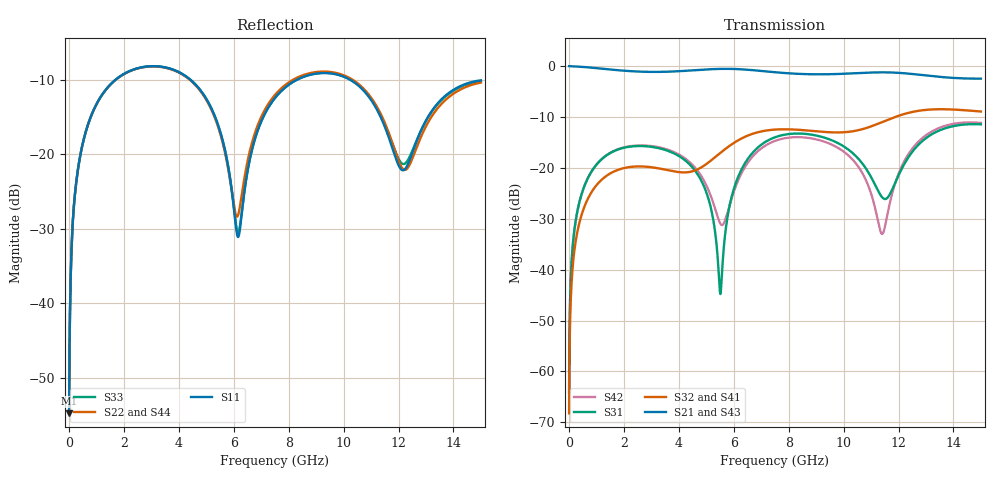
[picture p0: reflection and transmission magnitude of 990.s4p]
! Created with skrf 1.8.0 (http://scikit-rf.org).
# GHz S RI R 50.0
!freq ReS11 ImS11 ReS12 ImS12 ReS13 ImS13
! ReS14 ImS14
! ReS21 ImS21 ReS22 ImS22 ReS23 ImS23
! ReS24 ImS24
! ReS31 ImS31 ReS32 ImS32 ReS33 ImS33
! ReS34 ImS34
! ReS41 ImS41 ReS42 ImS42 ReS43 ImS43
! ReS44 ImS44
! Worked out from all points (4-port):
!   2499 points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, 5 MHz to 15 GHz, reference 50 ohm
!   strongest paths, dB at 5 MHz, 3.476 GHz, 7.19 GHz, 11.1 GHz, 15 GHz:
!     S21: 0.0, -1.1, -1.0, -1.2, -2.5
!     S43: 0.0, -1.1, -1.1, -1.3, -2.5
!     S32: -68.2, -20.3, -12.7, -11.6, -8.9
!     S41: -68.2, -20.4, -12.7, -11.7, -9.0
!     S31: -64.1, -16.4, -14.8, -22.8, -11.4
!     S42: -64.1, -16.2, -15.5, -26.8, -11.2
!   lowest |S11| = -54.7 dB at 5 MHz (marker M1), VSWR 1.00, Z = 50.1 + j0.111 ohm
!   |S11| at or under -10 dB: start of sweep to 1.692 GHz; 4.426 GHz to 8.295 GHz (3.869 GHz wide, 60.8 % of centre); 10.24 GHz to end of sweep
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0.005  0.00146 0.00111  0.9985 -0.00285  7.43e-05 0.000619  -7.2e-05 -0.000382
       0.9985 -0.00285  0.00146 0.00111  -7.2e-05 -0.000382  7.43e-05 0.000619
       7.43e-05 0.000619  -7.2e-05 -0.000382  0.00146 0.00111  0.9985 -0.00285
       -7.2e-05 -0.000382  7.43e-05 0.000619  0.9985 -0.00285  0.00146 0.00111
0.3126303  0.0199 0.0734  0.9729 -0.178  0.00935 0.0372  -0.00783 -0.0228
           0.9729 -0.178  0.0198 0.0734  -0.00784 -0.0228  0.00958 0.0371
           0.00935 0.0372  -0.00784 -0.0228  0.0199 0.0734  0.9729 -0.178
           -0.00783 -0.0228  0.00958 0.0371  0.9729 -0.178  0.0199 0.0734
1.519383  0.2288 0.1873  0.6329 -0.6745  0.1172 0.0781  -0.0863 -0.0201
          0.6329 -0.6745  0.2277 0.1879  -0.0865 -0.0199  0.1203 0.0747
          0.1172 0.0781  -0.0865 -0.0199  0.2287 0.1873  0.6329 -0.6745
          -0.0863 -0.0201  0.1203 0.0747  0.6329 -0.6745  0.2278 0.1878
5.514798  0.0656 -0.1239  -0.8616 -0.3732  0.00559 0.0014  -0.0533 0.13
          -0.8616 -0.3732  0.073 -0.1151  -0.0498 0.1315  -0.025 -0.0131
          0.00559 0.0014  -0.0498 0.1315  0.0673 -0.1235  -0.8617 -0.373
          -0.0533 0.13  -0.025 -0.0131  -0.8617 -0.373  0.0714 -0.1161
9.610254  0.3444 -0.0466  0.0288 0.8333  0.1522 -0.1049  0.2088 -0.0707
          0.0288 0.8333  0.3508 -0.0564  0.2084 -0.0802  0.1507 -0.0727
          0.1522 -0.1049  0.2084 -0.0802  0.3461 -0.0451  0.0295 0.832
          0.2088 -0.0707  0.1507 -0.0727  0.0295 0.832  0.3553 -0.0587
11.40475  0.1233 -0.1155  0.6995 0.515  -0.0437 -0.0272  0.1672 -0.2271
          0.6995 0.515  0.1264 -0.1258  0.1549 -0.2357  -0.0214 -0.00661
          -0.0437 -0.0272  0.1549 -0.2357  0.1309 -0.1162  0.6988 0.5144
          0.1672 -0.2271  -0.0214 -0.00661  0.6988 0.5144  0.1249 -0.1323
15  0.3139 0.00228  0.332 -0.6757  0.2667 -0.0245  -0.3471 -0.0634
    0.332 -0.6757  0.3027 0.0155  -0.3553 -0.0445  0.2758 -0.0193
    0.2667 -0.0245  -0.3553 -0.0445  0.3102 0.00129  0.329 -0.6761
    -0.3471 -0.0634  0.2758 -0.0193  0.329 -0.6761  0.3114 0.0152
